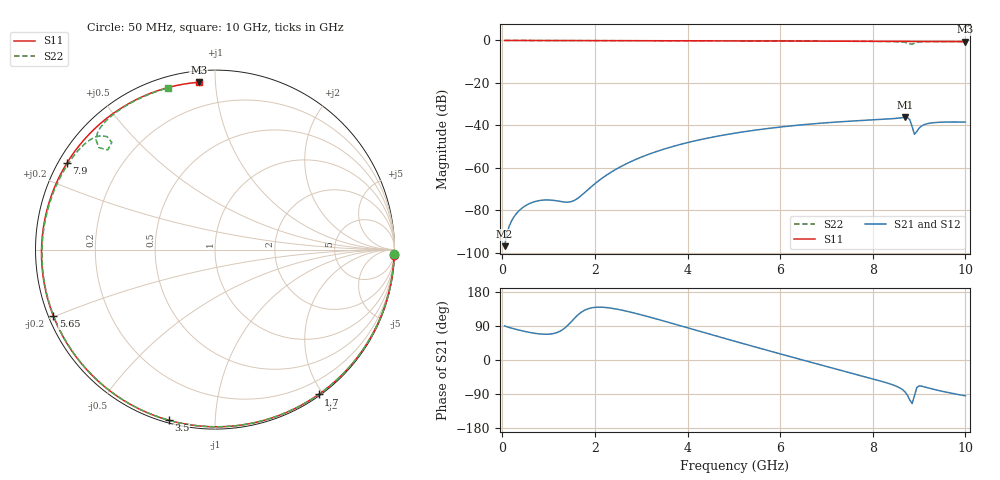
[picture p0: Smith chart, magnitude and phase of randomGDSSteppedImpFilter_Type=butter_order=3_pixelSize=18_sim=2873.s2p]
! freq	dB(S11)	phase(S11)	dB(S12)	phase(S12)
!  dB(S21)	phase(S21)	dB(S22)	phase(S22)
!S-par simulation data
#  GHz  S  DB  R 50
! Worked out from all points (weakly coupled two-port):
!   200 points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, 50 MHz to 10 GHz, reference 50 ohm
!   highest |S21| = -36.29 dB at 8.7 GHz (marker M1); lowest = -97.0 dB at 50 MHz (marker M2)
!   lowest |S11| = -0.6 dB at 10 GHz (marker M3), VSWR 30.61, Z = 2.98 + j45.3 ohm
!   |S11| at or under -10 dB: nowhere
!   |S22| runs from -1.8 to 0.0 dB; largest |S21 - S12| = 0
!   S11 on the Smith chart (normalised r, x): 50 MHz: 2, -72; 1.7 GHz: 0.02, -1.94; 3.5 GHz: 0.01, -0.76; 5.65 GHz: 0.01, -0.20; 7.9 GHz: 0.02, +0.27; 10 GHz: 0.06, +0.91
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0.05  -0.01 -1.6  -96.99 90.0  -96.99 90.0  -0.00 -1.5
0.35  -0.02 -11.5  -80.52 79.3  -80.52 79.3  -0.02 -11.0
0.6  -0.03 -19.7  -76.79 72.6  -76.79 72.6  -0.03 -18.9
0.85  -0.04 -27.8  -75.33 68.4  -75.33 68.4  -0.03 -26.7
1.45  -0.06 -46.7  -76.16 95.9  -76.16 95.9  -0.06 -44.9
1.7  -0.07 -54.4  -73.20 125.5  -73.20 125.5  -0.07 -52.3
1.75  -0.07 -55.9  -72.27 129.5  -72.27 129.5  -0.07 -53.8
2.45  -0.09 -76.6  -60.80 134.8  -60.80 134.8  -0.09 -73.7
3.4  -0.13 -102.6  -51.86 105.9  -51.86 105.9  -0.12 -98.9
3.5  -0.13 -105.2  -51.17 102.5  -51.17 102.5  -0.13 -101.5
4.25  -0.16 -124.3  -46.89 76.3  -46.89 76.3  -0.16 -119.9
5.05  -0.20 -143.6  -43.61 48.4  -43.61 48.4  -0.20 -138.6
5.65  -0.23 -157.6  -41.74 28.0  -41.74 28.0  -0.23 -152.3
6.7  -0.30 178.1  -39.32 -7.2  -39.32 -7.2  -0.30 -175.8
7.9  -0.39 149.7  -37.58 -46.4  -37.58 -46.4  -0.42 156.6
8.35  -0.43 138.7  -37.01 -62.2  -37.01 -62.2  -0.51 145.4
8.7  -0.46 129.9  -36.29 -84.6  -36.29 -84.6  -0.93 135.0
8.8  -0.47 127.3  -37.35 -105.5  -37.35 -105.5  -1.63 133.9
8.9  -0.48 124.8  -44.25 -94.5  -44.25 -94.5  -1.30 138.7
9.05  -0.49 121.0  -40.38 -68.9  -40.38 -68.9  -0.61 133.4
9.2  -0.50 117.0  -39.13 -73.7  -39.13 -73.7  -0.52 128.3
10  -0.57 95.6  -38.49 -94.6  -38.49 -94.6  -0.56 106.3
